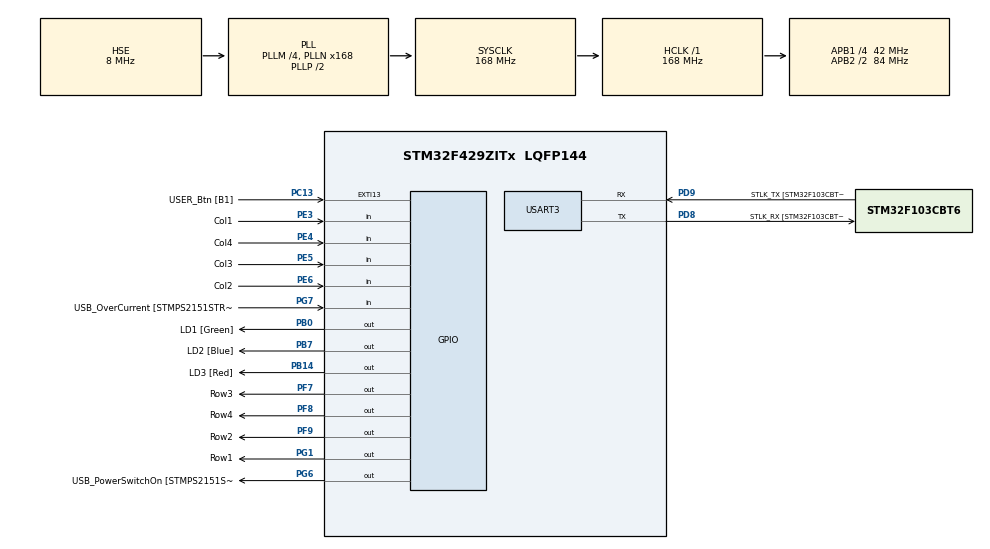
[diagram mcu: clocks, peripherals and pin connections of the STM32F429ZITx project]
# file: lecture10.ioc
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Mcu.Family=STM32F4
Mcu.Name=STM32F429ZITx
Mcu.Package=LQFP144
NVIC.PriorityGroup=NVIC_PRIORITYGROUP_4
NVIC.TIM3_IRQn=true\:0\:0\:false\:false\:true\:true\:true\:true
PA1.GPIO_Label=RMII_REF_CLK [LAN8742A-CZ-TR_REFCLK0]
PA1.Signal=ETH_REF_CLK
PA10.GPIO_Label=USB_ID
PA10.Signal=USB_OTG_FS_ID
PA11.GPIO_Label=USB_DM
PA11.Signal=USB_OTG_FS_DM
PA12.GPIO_Label=USB_DP
PA12.Signal=USB_OTG_FS_DP
PA13.GPIO_Label=TMS
PA13.Mode=Serial_Wire
PA13.Signal=SYS_JTMS-SWDIO
PA14.GPIO_Label=TCK
PA14.Mode=Serial_Wire
PA14.Signal=SYS_JTCK-SWCLK
PA2.GPIO_Label=RMII_MDIO [LAN8742A-CZ-TR_MDIO]
PA2.Signal=ETH_MDIO
PA7.GPIO_Label=RMII_CRS_DV [LAN8742A-CZ-TR_CRS_DV]
PA7.Signal=ETH_CRS_DV
PA8.GPIO_Label=USB_SOF [TP1]
PA8.Signal=USB_OTG_FS_SOF
PA9.GPIO_Label=USB_VBUS
PA9.Signal=USB_OTG_FS_VBUS
PB0.GPIO_Label=LD1 [Green]
PB0.Signal=GPIO_Output
PB13.GPIO_Label=RMII_TXD1 [LAN8742A-CZ-TR_TXD1]
PB13.Signal=ETH_TXD1
PB14.GPIO_Label=LD3 [Red]
PB14.Signal=GPIO_Output
PB7.GPIO_Label=LD2 [Blue]
PB7.Signal=GPIO_Output
PC1.GPIO_Label=RMII_MDC [LAN8742A-CZ-TR_MDC]
PC1.Signal=ETH_MDC
PC13.GPIO_Label=USER_Btn [B1]
PC13.Signal=GPXTI13
PC14/OSC32_IN.Mode=LSE-External-Oscillator
PC14/OSC32_IN.Signal=RCC_OSC32_IN
PC15/OSC32_OUT.Mode=LSE-External-Oscillator
PC15/OSC32_OUT.Signal=RCC_OSC32_OUT
PC4.GPIO_Label=RMII_RXD0 [LAN8742A-CZ-TR_RXD0]
PC4.Signal=ETH_RXD0
PC5.GPIO_Label=RMII_RXD1 [LAN8742A-CZ-TR_RXD1]
PC5.Signal=ETH_RXD1
PD8.GPIO_Label=STLK_RX [STM32F103CBT6_PA3]
PD8.Mode=Asynchronous
PD8.Signal=USART3_TX
PD9.GPIO_Label=STLK_TX [STM32F103CBT6_PA2]
PD9.Mode=Asynchronous
PD9.Signal=USART3_RX
PE3.GPIO_Label=Col1
PE3.GPIO_PuPd=GPIO_PULLUP
PE3.Signal=GPIO_Input
PE4.GPIO_Label=Col4
PE4.GPIO_PuPd=GPIO_PULLUP
PE4.Signal=GPIO_Input
PE5.GPIO_Label=Col3
PE5.GPIO_PuPd=GPIO_PULLUP
PE5.Signal=GPIO_Input
PE6.GPIO_Label=Col2
PE6.GPIO_PuPd=GPIO_PULLUP
PE6.Signal=GPIO_Input
PF7.GPIO_Label=Row3
PF7.GPIO_ModeDefaultOutputPP=GPIO_MODE_OUTPUT_OD
PF7.GPIO_PuPd=GPIO_NOPULL
PF7.Signal=GPIO_Output
PF8.GPIO_Label=Row4
PF8.GPIO_ModeDefaultOutputPP=GPIO_MODE_OUTPUT_OD
PF8.GPIO_PuPd=GPIO_NOPULL
PF8.Signal=GPIO_Output
PF9.GPIO_Label=Row2
PF9.GPIO_ModeDefaultOutputPP=GPIO_MODE_OUTPUT_OD
PF9.GPIO_PuPd=GPIO_NOPULL
PF9.Signal=GPIO_Output
PG1.GPIO_Label=Row1
PG1.GPIO_ModeDefaultOutputPP=GPIO_MODE_OUTPUT_OD
PG1.GPIO_PuPd=GPIO_NOPULL
PG1.Signal=GPIO_Output
PG11.GPIO_Label=RMII_TX_EN [LAN8742A-CZ-TR_TXEN]
PG11.Signal=ETH_TX_EN
PG13.GPIO_Label=RMII_TXD0 [LAN8742A-CZ-TR_TXD0]
PG13.Signal=ETH_TXD0
PG6.GPIO_Label=USB_PowerSwitchOn [STMPS2151STR_EN]
PG6.Signal=GPIO_Output
PG7.GPIO_Label=USB_OverCurrent [STMPS2151STR_FAULT]
PG7.Signal=GPIO_Input
PH0/OSC_IN.GPIO_Label=MCO [STM32F103CBT6_PA8]
PH0/OSC_IN.Mode=HSE-External-Clock-Source
PH0/OSC_IN.Signal=RCC_OSC_IN
PH1/OSC_OUT.Mode=HSE-External-Clock-Source
PH1/OSC_OUT.Signal=RCC_OSC_OUT
ProjectManager.HeapSize=0x200
ProjectManager.StackSize=0x400
ProjectManager.TargetToolchain=STM32CubeIDE
RCC.48MHZClocksFreq_Value=48000000
RCC.AHBFreq_Value=168000000
RCC.APB1CLKDivider=RCC_HCLK_DIV4
RCC.APB1Freq_Value=42000000
RCC.APB1TimFreq_Value=84000000
RCC.APB2CLKDivider=RCC_HCLK_DIV2
RCC.APB2Freq_Value=84000000
RCC.APB2TimCLKDivider=2
RCC.APB2TimFreq_Value=168000000
RCC.CortexFreq_Value=168000000
RCC.HCLKFreq_Value=168000000
RCC.HSE_VALUE=8000000
RCC.HSI_VALUE=16000000
RCC.PLLM=4
RCC.PLLMUL=RCC_PLL_MUL9
RCC.PLLN=168
RCC.PLLQ=7
RCC.PLLSourceVirtual=RCC_PLLSOURCE_HSE
RCC.PRESCALERUSB=RCC_USBCLKSOURCE_PLL_DIV1_5
RCC.SYSCLKFreq_VALUE=168000000
RCC.SYSCLKSource=RCC_SYSCLKSOURCE_PLLCLK
RCC.SYSCLKSourceVirtual=RCC_SYSCLKSOURCE_PLLCLK
RCC.USBFreq_Value=48000000
RCC.VCOOutputFreq_Value=336000000
TIM3.AutoReloadPreload=TIM_AUTORELOAD_PRELOAD_ENABLE
TIM3.Period=99
TIM3.Prescaler=8399
USART3.VirtualMode=VM_ASYNC
VP_TIM3_VS_ClockSourceINT.Mode=Internal
board=NUCLEO-F429ZI

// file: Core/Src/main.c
/* USER CODE BEGIN Header */
/**
  ******************************************************************************
  * @file           : main.c
  * @brief          : Main program body
  ******************************************************************************
  * @attention
  *
  * Copyright (c) 2024 STMicroelectronics.
  * All rights reserved.
  *
  * This software is licensed under terms that can be found in the LICENSE file
  * in the root directory of this software component.
  * If no LICENSE file comes with this software, it is provided AS-IS.
  *
  ******************************************************************************
  */
/* USER CODE END Header */
#include "main.h"

/* USER CODE BEGIN Includes */
#include <stdio.h>
#define time 5000

/* USER CODE END Includes */

TIM_HandleTypeDef htim3;

UART_HandleTypeDef huart3;

/* USER CODE BEGIN PV */
static volatile char key = 0;
/* USER CODE END PV */

void SystemClock_Config(void);
static void MX_GPIO_Init(void);
static void MX_USART3_UART_Init(void);
static void MX_TIM3_Init(void);

/* USER CODE BEGIN 0 */
int __io_putchar(int ch)
{
	ITM_SendChar(ch);
	return 0;
}

void HAL_TIM_PeriodElapsedCallback(TIM_HandleTypeDef *htim)
{
	static uint8_t row = 0;
	static const char keyboard[4][4] = {
			{ '1', '2', '3', 'A' },
			{ '4', '5', '6', 'B' },
			{ '7', '8', '9', 'C' },
			{ '*', '0', '#', 'D' },
	};
	if (key == 0) {
		if (HAL_GPIO_ReadPin(Col1_GPIO_Port, Col1_Pin) == GPIO_PIN_RESET) key = keyboard[row][0];
		if (HAL_GPIO_ReadPin(Col2_GPIO_Port, Col2_Pin) == GPIO_PIN_RESET) key = keyboard[row][1];
		if (HAL_GPIO_ReadPin(Col3_GPIO_Port, Col3_Pin) == GPIO_PIN_RESET) key = keyboard[row][2];
		if (HAL_GPIO_ReadPin(Col4_GPIO_Port, Col4_Pin) == GPIO_PIN_RESET) key = keyboard[row][3];
	}
	HAL_GPIO_WritePin(Row1_GPIO_Port, Row1_Pin, GPIO_PIN_SET);
	HAL_GPIO_WritePin(Row2_GPIO_Port, Row2_Pin, GPIO_PIN_SET);
	HAL_GPIO_WritePin(Row3_GPIO_Port, Row3_Pin, GPIO_PIN_SET);
	HAL_GPIO_WritePin(Row4_GPIO_Port, Row4_Pin, GPIO_PIN_SET);
	switch (row) {
		case 0: row = 1; HAL_GPIO_WritePin(Row2_GPIO_Port, Row2_Pin, GPIO_PIN_RESET); break;
		case 1: row = 2; HAL_GPIO_WritePin(Row3_GPIO_Port, Row3_Pin, GPIO_PIN_RESET); break;
		case 2: row = 3; HAL_GPIO_WritePin(Row4_GPIO_Port, Row4_Pin, GPIO_PIN_RESET); break;
		case 3: row = 0; HAL_GPIO_WritePin(Row1_GPIO_Port, Row1_Pin, GPIO_PIN_RESET); break;
	}
}
/* USER CODE END 0 */

int main(void)
{

  /* MCU Configuration--------------------------------------------------------*/

  /* Reset of all peripherals, Initializes the Flash interface and the Systick. */
  HAL_Init();

  /* Configure the system clock */
  SystemClock_Config();

  /* Initialize all configured peripherals */
  MX_GPIO_Init();
  MX_USART3_UART_Init();
  MX_TIM3_Init();
  /* USER CODE BEGIN 2 */
  HAL_TIM_Base_Start_IT(&htim3);

  const char password[5]=  { '7', '9', '3', '2', '#' };
  uint8_t passwordlen=5;
  uint8_t pw_i = 0;
  uint32_t last_time=0;

  /* USER CODE END 2 */

  /* Infinite loop */
  /* USER CODE BEGIN WHILE */
  while (1)
  {
	  /*printf("Tick\n");

	  HAL_GPIO_TogglePin(LD1_GPIO_Port, LD1_Pin);
	  HAL_Delay(250);*/

	  uint32_t timeout = HAL_GetTick();
	  if ((timeout-last_time) > time && pw_i>0){
		  pw_i=0;
		  printf("long time \n");
	  }

	  if(key != 0){
		  last_time=timeout;
	  }

	  if (key != 0 && key == password[pw_i]) {
		  printf("correct symbol '%c'\n", key);
		  HAL_Delay(500);
		  key = 0;
		  pw_i++;

		  if (pw_i == passwordlen){
			  printf("correct password \n");
			  pw_i = 0;
			  HAL_GPIO_TogglePin(LD1_GPIO_Port, LD1_Pin);
		  }
	  }

	  else if (key != 0 && key != password[pw_i]) {
		  printf("wrong password \n");
		  HAL_Delay(500);
		  key = 0;
		  pw_i =0;
	  }

    /* USER CODE END WHILE */

  }
}

void SystemClock_Config(void)
{
  RCC_OscInitTypeDef RCC_OscInitStruct = {0};
  RCC_ClkInitTypeDef RCC_ClkInitStruct = {0};

  /** Configure the main internal regulator output voltage
  */
  __HAL_RCC_PWR_CLK_ENABLE();
  __HAL_PWR_VOLTAGESCALING_CONFIG(PWR_REGULATOR_VOLTAGE_SCALE1);

  /** Initializes the RCC Oscillators according to the specified parameters
  * in the RCC_OscInitTypeDef structure.
  */
  RCC_OscInitStruct.OscillatorType = RCC_OSCILLATORTYPE_HSE;
  RCC_OscInitStruct.HSEState = RCC_HSE_BYPASS;
  RCC_OscInitStruct.PLL.PLLState = RCC_PLL_ON;
  RCC_OscInitStruct.PLL.PLLSource = RCC_PLLSOURCE_HSE;
  RCC_OscInitStruct.PLL.PLLM = 4;
  RCC_OscInitStruct.PLL.PLLN = 168;
  RCC_OscInitStruct.PLL.PLLP = RCC_PLLP_DIV2;
  RCC_OscInitStruct.PLL.PLLQ = 7;
  if (HAL_RCC_OscConfig(&RCC_OscInitStruct) != HAL_OK)
  {
    Error_Handler();
  }

  /** Initializes the CPU, AHB and APB buses clocks
  */
  RCC_ClkInitStruct.ClockType = RCC_CLOCKTYPE_HCLK|RCC_CLOCKTYPE_SYSCLK
                              |RCC_CLOCKTYPE_PCLK1|RCC_CLOCKTYPE_PCLK2;
  RCC_ClkInitStruct.SYSCLKSource = RCC_SYSCLKSOURCE_PLLCLK;
  RCC_ClkInitStruct.AHBCLKDivider = RCC_SYSCLK_DIV1;
  RCC_ClkInitStruct.APB1CLKDivider = RCC_HCLK_DIV4;
  RCC_ClkInitStruct.APB2CLKDivider = RCC_HCLK_DIV2;

  if (HAL_RCC_ClockConfig(&RCC_ClkInitStruct, FLASH_LATENCY_5) != HAL_OK)
  {
    Error_Handler();
  }
}

static void MX_TIM3_Init(void)
{

  TIM_ClockConfigTypeDef sClockSourceConfig = {0};
  TIM_MasterConfigTypeDef sMasterConfig = {0};

  htim3.Instance = TIM3;
  htim3.Init.Prescaler = 8399;
  htim3.Init.CounterMode = TIM_COUNTERMODE_UP;
  htim3.Init.Period = 99;
  htim3.Init.ClockDivision = TIM_CLOCKDIVISION_DIV1;
  htim3.Init.AutoReloadPreload = TIM_AUTORELOAD_PRELOAD_ENABLE;
  if (HAL_TIM_Base_Init(&htim3) != HAL_OK)
  {
    Error_Handler();
  }
  sClockSourceConfig.ClockSource = TIM_CLOCKSOURCE_INTERNAL;
  if (HAL_TIM_ConfigClockSource(&htim3, &sClockSourceConfig) != HAL_OK)
  {
    Error_Handler();
  }
  sMasterConfig.MasterOutputTrigger = TIM_TRGO_RESET;
  sMasterConfig.MasterSlaveMode = TIM_MASTERSLAVEMODE_DISABLE;
  if (HAL_TIMEx_MasterConfigSynchronization(&htim3, &sMasterConfig) != HAL_OK)
  {
    Error_Handler();
  }

}

static void MX_USART3_UART_Init(void)
{

  huart3.Instance = USART3;
  huart3.Init.BaudRate = 115200;
  huart3.Init.WordLength = UART_WORDLENGTH_8B;
  huart3.Init.StopBits = UART_STOPBITS_1;
  huart3.Init.Parity = UART_PARITY_NONE;
  huart3.Init.Mode = UART_MODE_TX_RX;
  huart3.Init.HwFlowCtl = UART_HWCONTROL_NONE;
  huart3.Init.OverSampling = UART_OVERSAMPLING_16;
  if (HAL_UART_Init(&huart3) != HAL_OK)
  {
    Error_Handler();
  }

}

static void MX_GPIO_Init(void)
{
  GPIO_InitTypeDef GPIO_InitStruct = {0};

  /* GPIO Ports Clock Enable */
  __HAL_RCC_GPIOE_CLK_ENABLE();
  __HAL_RCC_GPIOC_CLK_ENABLE();
  __HAL_RCC_GPIOF_CLK_ENABLE();
  __HAL_RCC_GPIOH_CLK_ENABLE();
  __HAL_RCC_GPIOA_CLK_ENABLE();
  __HAL_RCC_GPIOB_CLK_ENABLE();
  __HAL_RCC_GPIOG_CLK_ENABLE();
  __HAL_RCC_GPIOD_CLK_ENABLE();

  /*Configure GPIO pin Output Level */
  HAL_GPIO_WritePin(GPIOF, Row3_Pin|Row4_Pin|Row2_Pin, GPIO_PIN_RESET);

  /*Configure GPIO pin Output Level */
  HAL_GPIO_WritePin(GPIOB, LD1_Pin|LD3_Pin|LD2_Pin, GPIO_PIN_RESET);

  /*Configure GPIO pin Output Level */
  HAL_GPIO_WritePin(GPIOG, Row1_Pin|USB_PowerSwitchOn_Pin, GPIO_PIN_RESET);

  /*Configure GPIO pins : Col1_Pin Col4_Pin Col3_Pin Col2_Pin */
  GPIO_InitStruct.Pin = Col1_Pin|Col4_Pin|Col3_Pin|Col2_Pin;
  GPIO_InitStruct.Mode = GPIO_MODE_INPUT;
  GPIO_InitStruct.Pull = GPIO_PULLUP;
  HAL_GPIO_Init(GPIOE, &GPIO_InitStruct);

  /*Configure GPIO pin : USER_Btn_Pin */
  GPIO_InitStruct.Pin = USER_Btn_Pin;
  GPIO_InitStruct.Mode = GPIO_MODE_IT_RISING;
  GPIO_InitStruct.Pull = GPIO_NOPULL;
  HAL_GPIO_Init(USER_Btn_GPIO_Port, &GPIO_InitStruct);

  /*Configure GPIO pins : Row3_Pin Row4_Pin Row2_Pin */
  GPIO_InitStruct.Pin = Row3_Pin|Row4_Pin|Row2_Pin;
  GPIO_InitStruct.Mode = GPIO_MODE_OUTPUT_OD;
  GPIO_InitStruct.Pull = GPIO_NOPULL;
  GPIO_InitStruct.Speed = GPIO_SPEED_FREQ_LOW;
  HAL_GPIO_Init(GPIOF, &GPIO_InitStruct);

  /*Configure GPIO pins : RMII_MDC_Pin RMII_RXD0_Pin RMII_RXD1_Pin */
  GPIO_InitStruct.Pin = RMII_MDC_Pin|RMII_RXD0_Pin|RMII_RXD1_Pin;
  GPIO_InitStruct.Mode = GPIO_MODE_AF_PP;
  GPIO_InitStruct.Pull = GPIO_NOPULL;
  GPIO_InitStruct.Speed = GPIO_SPEED_FREQ_VERY_HIGH;
  GPIO_InitStruct.Alternate = GPIO_AF11_ETH;
  HAL_GPIO_Init(GPIOC, &GPIO_InitStruct);

  /*Configure GPIO pins : RMII_REF_CLK_Pin RMII_MDIO_Pin RMII_CRS_DV_Pin */
  GPIO_InitStruct.Pin = RMII_REF_CLK_Pin|RMII_MDIO_Pin|RMII_CRS_DV_Pin;
  GPIO_InitStruct.Mode = GPIO_MODE_AF_PP;
  GPIO_InitStruct.Pull = GPIO_NOPULL;
  GPIO_InitStruct.Speed = GPIO_SPEED_FREQ_VERY_HIGH;
  GPIO_InitStruct.Alternate = GPIO_AF11_ETH;
  HAL_GPIO_Init(GPIOA, &GPIO_InitStruct);

  /*Configure GPIO pins : LD1_Pin LD3_Pin LD2_Pin */
  GPIO_InitStruct.Pin = LD1_Pin|LD3_Pin|LD2_Pin;
  GPIO_InitStruct.Mode = GPIO_MODE_OUTPUT_PP;
  GPIO_InitStruct.Pull = GPIO_NOPULL;
  GPIO_InitStruct.Speed = GPIO_SPEED_FREQ_LOW;
  HAL_GPIO_Init(GPIOB, &GPIO_InitStruct);

  /*Configure GPIO pin : Row1_Pin */
  GPIO_InitStruct.Pin = Row1_Pin;
  GPIO_InitStruct.Mode = GPIO_MODE_OUTPUT_OD;
  GPIO_InitStruct.Pull = GPIO_NOPULL;
  GPIO_InitStruct.Speed = GPIO_SPEED_FREQ_LOW;
  HAL_GPIO_Init(Row1_GPIO_Port, &GPIO_InitStruct);

  /*Configure GPIO pin : RMII_TXD1_Pin */
  GPIO_InitStruct.Pin = RMII_TXD1_Pin;
  GPIO_InitStruct.Mode = GPIO_MODE_AF_PP;
  GPIO_InitStruct.Pull = GPIO_NOPULL;
  GPIO_InitStruct.Speed = GPIO_SPEED_FREQ_VERY_HIGH;
  GPIO_InitStruct.Alternate = GPIO_AF11_ETH;
  HAL_GPIO_Init(RMII_TXD1_GPIO_Port, &GPIO_InitStruct);

  /*Configure GPIO pin : USB_PowerSwitchOn_Pin */
  GPIO_InitStruct.Pin = USB_PowerSwitchOn_Pin;
  GPIO_InitStruct.Mode = GPIO_MODE_OUTPUT_PP;
  GPIO_InitStruct.Pull = GPIO_NOPULL;
  GPIO_InitStruct.Speed = GPIO_SPEED_FREQ_LOW;
  HAL_GPIO_Init(USB_PowerSwitchOn_GPIO_Port, &GPIO_InitStruct);

  /*Configure GPIO pin : USB_OverCurrent_Pin */
  GPIO_InitStruct.Pin = USB_OverCurrent_Pin;
  GPIO_InitStruct.Mode = GPIO_MODE_INPUT;
  GPIO_InitStruct.Pull = GPIO_NOPULL;
  HAL_GPIO_Init(USB_OverCurrent_GPIO_Port, &GPIO_InitStruct);

  /*Configure GPIO pins : USB_SOF_Pin USB_ID_Pin USB_DM_Pin USB_DP_Pin */
  GPIO_InitStruct.Pin = USB_SOF_Pin|USB_ID_Pin|USB_DM_Pin|USB_DP_Pin;
  GPIO_InitStruct.Mode = GPIO_MODE_AF_PP;
  GPIO_InitStruct.Pull = GPIO_NOPULL;
  GPIO_InitStruct.Speed = GPIO_SPEED_FREQ_VERY_HIGH;
  GPIO_InitStruct.Alternate = GPIO_AF10_OTG_FS;
  HAL_GPIO_Init(GPIOA, &GPIO_InitStruct);

  /*Configure GPIO pin : USB_VBUS_Pin */
  GPIO_InitStruct.Pin = USB_VBUS_Pin;
  GPIO_InitStruct.Mode = GPIO_MODE_INPUT;
  GPIO_InitStruct.Pull = GPIO_NOPULL;
  HAL_GPIO_Init(USB_VBUS_GPIO_Port, &GPIO_InitStruct);

  /*Configure GPIO pins : RMII_TX_EN_Pin RMII_TXD0_Pin */
  GPIO_InitStruct.Pin = RMII_TX_EN_Pin|RMII_TXD0_Pin;
  GPIO_InitStruct.Mode = GPIO_MODE_AF_PP;
  GPIO_InitStruct.Pull = GPIO_NOPULL;
  GPIO_InitStruct.Speed = GPIO_SPEED_FREQ_VERY_HIGH;
  GPIO_InitStruct.Alternate = GPIO_AF11_ETH;
  HAL_GPIO_Init(GPIOG, &GPIO_InitStruct);

}

void Error_Handler(void)
{
  __disable_irq();
  while (1)
  {
  }
}
